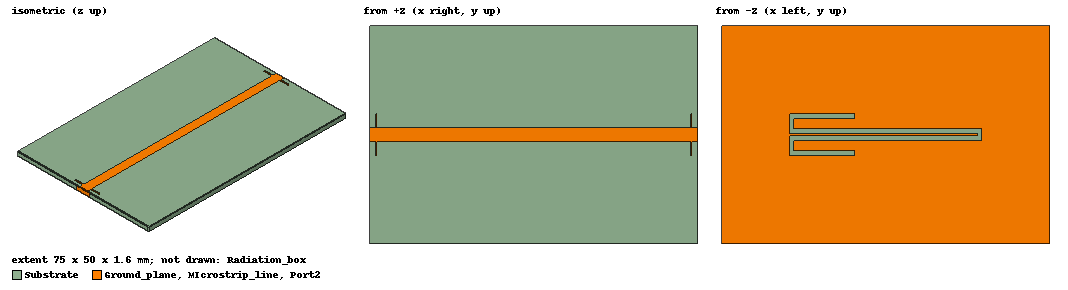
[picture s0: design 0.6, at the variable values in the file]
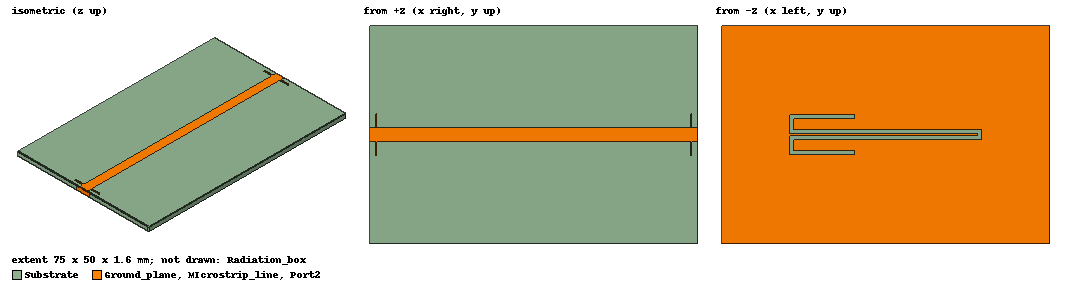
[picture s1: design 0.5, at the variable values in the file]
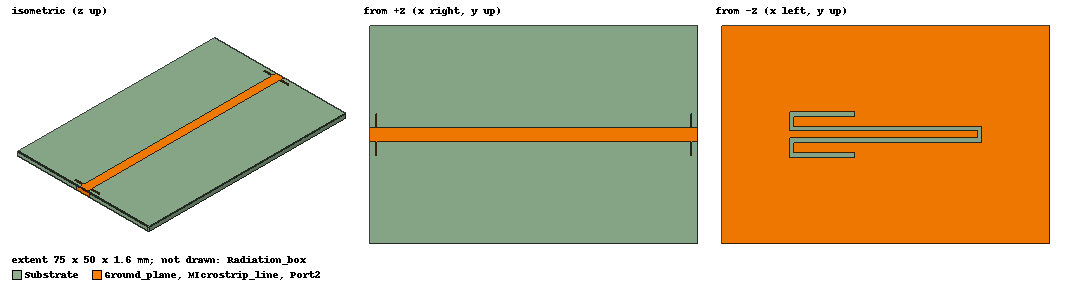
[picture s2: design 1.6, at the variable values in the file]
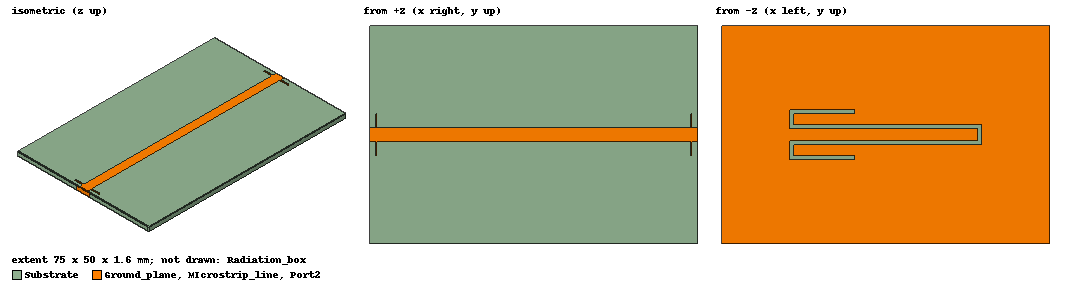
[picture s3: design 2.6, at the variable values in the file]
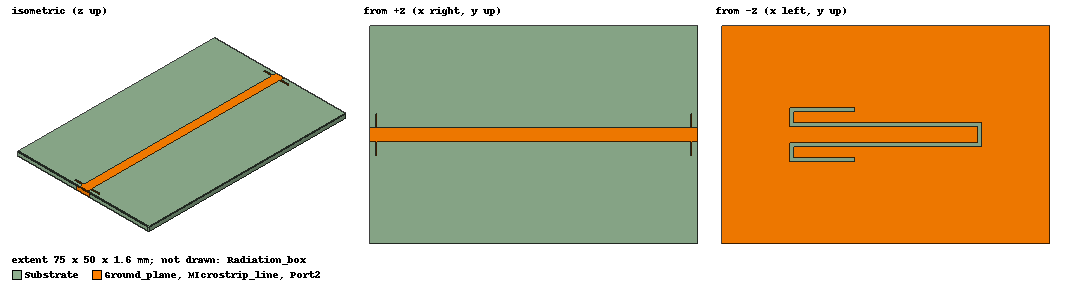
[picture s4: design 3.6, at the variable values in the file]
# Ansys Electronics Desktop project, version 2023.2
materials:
  vacuum: permittivity=1
  FR4_epoxy: permittivity=4.4 dielectric_loss_tangent=0.02
  air: permittivity=1.0006 permeability=1.0000004

design 0.6 (HFSS, HFSS Terminal Network, model units mm)
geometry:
  Substrate [FR4_epoxy] = box(corner=(-37.5mm, -25mm, 0mm), size=(75mm, 50mm, 1.6mm))
  Ground_plane = rectangle(corner=(-37.5mm, -25mm, 0mm), x_size=75mm, y_size=50mm)
  Rectangle1 = rectangle(corner=(-22mm, -1.3mm, 0mm), x_size=44mm, y_size=1mm)
  Rectangle2 = rectangle(corner=(-22mm, 0.3mm, 0mm), x_size=44mm, y_size=1mm)
  Rectangle3 = rectangle(corner=(-22mm, -0.3mm, 0mm), x_size=1mm, y_size=0.6mm)
  Rectangle4 = rectangle(corner=(22mm, -1.3mm, 0mm), x_size=-1mm, y_size=-2.4mm)
  Rectangle5 = rectangle(corner=(22mm, 3.7mm, 0mm), x_size=-1mm, y_size=-2.4mm)
  Rectangle6 = rectangle(corner=(22mm, -3.7mm, 0mm), x_size=-15mm, y_size=-1mm)
  Rectangle7 = rectangle(corner=(22mm, 4.7mm, 0mm), x_size=-15mm, y_size=-1mm)
  Ground_plane.subtract(Rectangle1..Rectangle7)
  MIcrostrip_line = rectangle(corner=(-37.5mm, -1.5mm, 1.6mm), x_size=75mm, y_size=3mm)
  Rectangle8 = rectangle(corner=(35.8mm, -1.5mm, 1.6mm), x_size=0.4mm, y_size=-3.4mm)
  Rectangle9 = rectangle(corner=(35.8mm, 1.5mm, 1.6mm), x_size=0.4mm, y_size=3.4mm)
  Rectangle10 = rectangle(corner=(-36.2mm, -1.5mm, 1.6mm), x_size=0.4mm, y_size=-3.4mm)
  Rectangle11 = rectangle(corner=(-36.2mm, 1.5mm, 1.6mm), x_size=0.4mm, y_size=3.4mm)
  MIcrostrip_line.unite(Rectangle8..Rectangle11)
  Port1 = rectangle(corner=(-37.5mm, -2.5mm, 1.6mm), y_size=5mm, z_size=-1.6mm)
  Port2 = rectangle(corner=(37.5mm, -2.5mm, 1.6mm), y_size=5mm, z_size=-1.6mm)
  Radiation_box [air] = box(corner=(-60mm, -45mm, -10mm), size=(125mm, 90mm, 35mm))
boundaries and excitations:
  PerfE1: Perfect E Objects=Ground_plane
  PerfE2: Perfect E Objects=MIcrostrip_line
  Rad1: Radiation Objects=Radiation_box
  1: Lumped Port Objects=Port1 LumpedPortType=Modal Modes{Mode1{IntLine{(-37.5, 0, 0) -> (-37.5, 0, 1.6)} CharImp=Zpi RenormImp=50ohm}} Impedance=50ohm
  2: Lumped Port Objects=Port2 LumpedPortType=Modal Modes{Mode1{IntLine{(37.5, 0, 0) -> (37.5, 0, 1.6)} CharImp=Zpi RenormImp=50ohm}} Impedance=50ohm
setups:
  Setup1: HfssDriven Frequency=1GHz MaxDeltaS=0.02 MaximumPasses=6 MinimumPasses=1 MinimumConvergedPasses=1 PercentRefinement=30 BasisOrder=1 PortAccuracy=2 DrivenSolverType="Direct Solver"
    sweep Sweep: 0.1GHz to 1.5GHz, 901 points; Type=Fast SaveFields
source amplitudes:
  1:1: 1V 0deg
  2:1: 0V 0deg
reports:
  S Parameter Plot 1: dB(S(1,1)), dB(S(2,1)), dB(S(1,2)), dB(S(2,2)) vs Freq on Setup1 : Sweep

design 0.5 (HFSS, HFSS Terminal Network, model units mm)
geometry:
  Substrate [FR4_epoxy] = box(corner=(-37.5mm, -25mm, 0mm), size=(75mm, 50mm, 1.6mm))
  Ground_plane = rectangle(corner=(-37.5mm, -25mm, 0mm), x_size=75mm, y_size=50mm)
  Rectangle1 = rectangle(corner=(-22mm, -1.25mm, 0mm), x_size=44mm, y_size=1mm)
  Rectangle2 = rectangle(corner=(-22mm, 0.25mm, 0mm), x_size=44mm, y_size=1mm)
  Rectangle3 = rectangle(corner=(-22mm, -0.25mm, 0mm), x_size=1mm, y_size=0.5mm)
  Rectangle4 = rectangle(corner=(22mm, -1.25mm, 0mm), x_size=-1mm, y_size=-2.4mm)
  Rectangle5 = rectangle(corner=(22mm, 3.65mm, 0mm), x_size=-1mm, y_size=-2.4mm)
  Rectangle6 = rectangle(corner=(22mm, -3.65mm, 0mm), x_size=-15mm, y_size=-1mm)
  Rectangle7 = rectangle(corner=(22mm, 4.65mm, 0mm), x_size=-15mm, y_size=-1mm)
  Ground_plane.subtract(Rectangle1..Rectangle7)
  MIcrostrip_line = rectangle(corner=(-37.5mm, -1.5mm, 1.6mm), x_size=75mm, y_size=3mm)
  Rectangle8 = rectangle(corner=(35.8mm, -1.5mm, 1.6mm), x_size=0.4mm, y_size=-3.4mm)
  Rectangle9 = rectangle(corner=(35.8mm, 1.5mm, 1.6mm), x_size=0.4mm, y_size=3.4mm)
  Rectangle10 = rectangle(corner=(-36.2mm, -1.5mm, 1.6mm), x_size=0.4mm, y_size=-3.4mm)
  Rectangle11 = rectangle(corner=(-36.2mm, 1.5mm, 1.6mm), x_size=0.4mm, y_size=3.4mm)
  MIcrostrip_line.unite(Rectangle8..Rectangle11)
  Port1 = rectangle(corner=(-37.5mm, -2.5mm, 1.6mm), y_size=5mm, z_size=-1.6mm)
  Port2 = rectangle(corner=(37.5mm, -2.5mm, 1.6mm), y_size=5mm, z_size=-1.6mm)
  Radiation_box [air] = box(corner=(-60mm, -45mm, -10mm), size=(125mm, 90mm, 35mm))
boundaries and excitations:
  PerfE1: Perfect E Objects=Ground_plane
  PerfE2: Perfect E Objects=MIcrostrip_line
  Rad1: Radiation Objects=Radiation_box
  1: Lumped Port Objects=Port1 LumpedPortType=Modal Modes{Mode1{IntLine{(-37.5, 0, 0) -> (-37.5, 0, 1.6)} CharImp=Zpi RenormImp=50ohm}} Impedance=50ohm
  2: Lumped Port Objects=Port2 LumpedPortType=Modal Modes{Mode1{IntLine{(37.5, 0, 0) -> (37.5, 0, 1.6)} CharImp=Zpi RenormImp=50ohm}} Impedance=50ohm
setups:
  Setup1: HfssDriven Frequency=1GHz MaxDeltaS=0.02 MaximumPasses=6 MinimumPasses=1 MinimumConvergedPasses=1 PercentRefinement=30 BasisOrder=1 PortAccuracy=2 DrivenSolverType="Direct Solver"
    sweep Sweep: 0.1GHz to 1.5GHz, 901 points; Type=Fast SaveFields
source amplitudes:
  1:1: 1V 0deg
  2:1: 0V 0deg
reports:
  S Parameter Plot 1: dB(S(1,1)), dB(S(2,1)), dB(S(1,2)), dB(S(2,2)) vs Freq on Setup1 : Sweep; markers m1 at 0.93844444GHz, m2 at 0.926GHz, m3 at 0.95088889GHz, m4 at 0.30688889GHz, m5 at 0.52GHz, m6 at 1.2137778GHz

design 1.6 (HFSS, HFSS Terminal Network, model units mm)
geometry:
  Substrate [FR4_epoxy] = box(corner=(-37.5mm, -25mm, 0mm), size=(75mm, 50mm, 1.6mm))
  Ground_plane = rectangle(corner=(-37.5mm, -25mm, 0mm), x_size=75mm, y_size=50mm)
  Rectangle1 = rectangle(corner=(-22mm, -1.8mm, 0mm), x_size=44mm, y_size=1mm)
  Rectangle2 = rectangle(corner=(-22mm, 0.8mm, 0mm), x_size=44mm, y_size=1mm)
  Rectangle3 = rectangle(corner=(-22mm, -0.8mm, 0mm), x_size=1mm, y_size=1.6mm)
  Rectangle4 = rectangle(corner=(22mm, -1.8mm, 0mm), x_size=-1mm, y_size=-2.4mm)
  Rectangle5 = rectangle(corner=(22mm, 4.2mm, 0mm), x_size=-1mm, y_size=-2.4mm)
  Rectangle6 = rectangle(corner=(22mm, -4.2mm, 0mm), x_size=-15mm, y_size=-1mm)
  Rectangle7 = rectangle(corner=(22mm, 5.2mm, 0mm), x_size=-15mm, y_size=-1mm)
  Ground_plane.subtract(Rectangle1..Rectangle7)
  MIcrostrip_line = rectangle(corner=(-37.5mm, -1.5mm, 1.6mm), x_size=75mm, y_size=3mm)
  Rectangle8 = rectangle(corner=(35.8mm, -1.5mm, 1.6mm), x_size=0.4mm, y_size=-3.4mm)
  Rectangle9 = rectangle(corner=(35.8mm, 1.5mm, 1.6mm), x_size=0.4mm, y_size=3.4mm)
  Rectangle10 = rectangle(corner=(-36.2mm, -1.5mm, 1.6mm), x_size=0.4mm, y_size=-3.4mm)
  Rectangle11 = rectangle(corner=(-36.2mm, 1.5mm, 1.6mm), x_size=0.4mm, y_size=3.4mm)
  MIcrostrip_line.unite(Rectangle8..Rectangle11)
  Port1 = rectangle(corner=(-37.5mm, -2.5mm, 1.6mm), y_size=5mm, z_size=-1.6mm)
  Port2 = rectangle(corner=(37.5mm, -2.5mm, 1.6mm), y_size=5mm, z_size=-1.6mm)
  Radiation_box [air] = box(corner=(-60mm, -45mm, -10mm), size=(125mm, 90mm, 35mm))
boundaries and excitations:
  PerfE1: Perfect E Objects=Ground_plane
  PerfE2: Perfect E Objects=MIcrostrip_line
  Rad1: Radiation Objects=Radiation_box
  1: Lumped Port Objects=Port1 LumpedPortType=Modal Modes{Mode1{IntLine{(-37.5, 0, 0) -> (-37.5, 0, 1.6)} CharImp=Zpi RenormImp=50ohm}} Impedance=50ohm
  2: Lumped Port Objects=Port2 LumpedPortType=Modal Modes{Mode1{IntLine{(37.5, 0, 0) -> (37.5, 0, 1.6)} CharImp=Zpi RenormImp=50ohm}} Impedance=50ohm
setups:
  Setup1: HfssDriven Frequency=1GHz MaxDeltaS=0.02 MaximumPasses=6 MinimumPasses=1 MinimumConvergedPasses=1 PercentRefinement=30 BasisOrder=1 PortAccuracy=2 DrivenSolverType="Direct Solver"
    sweep Sweep: 0.1GHz to 1.5GHz, 901 points; Type=Fast SaveFields
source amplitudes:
  1:1: 1V 0deg
  2:1: 0V 0deg
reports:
  S Parameter Plot 1: dB(S(1,1)), dB(S(2,1)), dB(S(1,2)), dB(S(2,2)) vs Freq on Setup1 : Sweep; markers m1 at 0.90266667GHz, m2 at 0.27733333GHz, m3 at 0.42666667GHz, m4 at 1.2511111GHz, m5 at 0.87622222GHz, m6 at 0.92911111GHz

design 2.6 (HFSS, HFSS Terminal Network, model units mm)
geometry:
  Substrate [FR4_epoxy] = box(corner=(-37.5mm, -25mm, 0mm), size=(75mm, 50mm, 1.6mm))
  Ground_plane = rectangle(corner=(-37.5mm, -25mm, 0mm), x_size=75mm, y_size=50mm)
  Rectangle1 = rectangle(corner=(-22mm, -2.3mm, 0mm), x_size=44mm, y_size=1mm)
  Rectangle2 = rectangle(corner=(-22mm, 1.3mm, 0mm), x_size=44mm, y_size=1mm)
  Rectangle3 = rectangle(corner=(-22mm, -1.3mm, 0mm), x_size=1mm, y_size=2.6mm)
  Rectangle4 = rectangle(corner=(22mm, -2.3mm, 0mm), x_size=-1mm, y_size=-2.4mm)
  Rectangle5 = rectangle(corner=(22mm, 4.7mm, 0mm), x_size=-1mm, y_size=-2.4mm)
  Rectangle6 = rectangle(corner=(22mm, -4.7mm, 0mm), x_size=-15mm, y_size=-1mm)
  Rectangle7 = rectangle(corner=(22mm, 5.7mm, 0mm), x_size=-15mm, y_size=-1mm)
  Ground_plane.subtract(Rectangle1..Rectangle7)
  MIcrostrip_line = rectangle(corner=(-37.5mm, -1.5mm, 1.6mm), x_size=75mm, y_size=3mm)
  Rectangle8 = rectangle(corner=(35.8mm, -1.5mm, 1.6mm), x_size=0.4mm, y_size=-3.4mm)
  Rectangle9 = rectangle(corner=(35.8mm, 1.5mm, 1.6mm), x_size=0.4mm, y_size=3.4mm)
  Rectangle10 = rectangle(corner=(-36.2mm, -1.5mm, 1.6mm), x_size=0.4mm, y_size=-3.4mm)
  Rectangle11 = rectangle(corner=(-36.2mm, 1.5mm, 1.6mm), x_size=0.4mm, y_size=3.4mm)
  MIcrostrip_line.unite(Rectangle8..Rectangle11)
  Port1 = rectangle(corner=(-37.5mm, -2.5mm, 1.6mm), y_size=5mm, z_size=-1.6mm)
  Port2 = rectangle(corner=(37.5mm, -2.5mm, 1.6mm), y_size=5mm, z_size=-1.6mm)
  Radiation_box [air] = box(corner=(-60mm, -45mm, -10mm), size=(125mm, 90mm, 35mm))
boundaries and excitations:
  PerfE1: Perfect E Objects=Ground_plane
  PerfE2: Perfect E Objects=MIcrostrip_line
  Rad1: Radiation Objects=Radiation_box
  1: Lumped Port Objects=Port1 LumpedPortType=Modal Modes{Mode1{IntLine{(-37.5, 0, 0) -> (-37.5, 0, 1.6)} CharImp=Zpi RenormImp=50ohm}} Impedance=50ohm
  2: Lumped Port Objects=Port2 LumpedPortType=Modal Modes{Mode1{IntLine{(37.5, 0, 0) -> (37.5, 0, 1.6)} CharImp=Zpi RenormImp=50ohm}} Impedance=50ohm
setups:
  Setup1: HfssDriven Frequency=0.9GHz MaxDeltaS=0.02 MaximumPasses=6 MinimumPasses=1 MinimumConvergedPasses=1 PercentRefinement=30 BasisOrder=1 PortAccuracy=2 DrivenSolverType="Direct Solver"
    sweep Sweep: 0.1GHz to 1.5GHz, 401 points; Type=Fast SaveFields
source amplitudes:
  1:1: 1V 0deg
  2:1: 0V 0deg
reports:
  S Parameter Plot 1: dB(S(1,1)), dB(S(2,1)), dB(S(1,2)), dB(S(2,2)) vs Freq on Setup1 : Sweep; markers m1 at 0.289GHz, m2 at 0.884GHz, m3 at 0.863GHz, m4 at 0.905GHz, m5 at 0.4605GHz, m6 at 1.2515GHz

design 3.6 (HFSS, HFSS Terminal Network, model units mm)
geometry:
  Substrate [FR4_epoxy] = box(corner=(-37.5mm, -25mm, 0mm), size=(75mm, 50mm, 1.6mm))
  Ground_plane = rectangle(corner=(-37.5mm, -25mm, 0mm), x_size=75mm, y_size=50mm)
  Rectangle1 = rectangle(corner=(-22mm, -2.8mm, 0mm), x_size=44mm, y_size=1mm)
  Rectangle2 = rectangle(corner=(-22mm, 1.8mm, 0mm), x_size=44mm, y_size=1mm)
  Rectangle3 = rectangle(corner=(-22mm, -1.8mm, 0mm), x_size=1mm, y_size=3.6mm)
  Rectangle4 = rectangle(corner=(22mm, -2.8mm, 0mm), x_size=-1mm, y_size=-2.4mm)
  Rectangle5 = rectangle(corner=(22mm, 5.2mm, 0mm), x_size=-1mm, y_size=-2.4mm)
  Rectangle6 = rectangle(corner=(22mm, -5.2mm, 0mm), x_size=-15mm, y_size=-1mm)
  Rectangle7 = rectangle(corner=(22mm, 6.2mm, 0mm), x_size=-15mm, y_size=-1mm)
  Ground_plane.subtract(Rectangle1..Rectangle7)
  MIcrostrip_line = rectangle(corner=(-37.5mm, -1.5mm, 1.6mm), x_size=75mm, y_size=3mm)
  Rectangle8 = rectangle(corner=(35.8mm, -1.5mm, 1.6mm), x_size=0.4mm, y_size=-3.4mm)
  Rectangle9 = rectangle(corner=(35.8mm, 1.5mm, 1.6mm), x_size=0.4mm, y_size=3.4mm)
  Rectangle10 = rectangle(corner=(-36.2mm, -1.5mm, 1.6mm), x_size=0.4mm, y_size=-3.4mm)
  Rectangle11 = rectangle(corner=(-36.2mm, 1.5mm, 1.6mm), x_size=0.4mm, y_size=3.4mm)
  MIcrostrip_line.unite(Rectangle8..Rectangle11)
  Port1 = rectangle(corner=(-37.5mm, -2.5mm, 1.6mm), y_size=5mm, z_size=-1.6mm)
  Port2 = rectangle(corner=(37.5mm, -2.5mm, 1.6mm), y_size=5mm, z_size=-1.6mm)
  Radiation_box [air] = box(corner=(-60mm, -45mm, -10mm), size=(125mm, 90mm, 35mm))
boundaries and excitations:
  PerfE1: Perfect E Objects=Ground_plane
  PerfE2: Perfect E Objects=MIcrostrip_line
  Rad1: Radiation Objects=Radiation_box
  1: Lumped Port Objects=Port1 LumpedPortType=Modal Modes{Mode1{IntLine{(-37.5, 0, 0) -> (-37.5, 0, 1.6)} CharImp=Zpi RenormImp=50ohm}} Impedance=50ohm
  2: Lumped Port Objects=Port2 LumpedPortType=Modal Modes{Mode1{IntLine{(37.5, 0, 0) -> (37.5, 0, 1.6)} CharImp=Zpi RenormImp=50ohm}} Impedance=50ohm
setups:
  Setup1: HfssDriven Frequency=0.9GHz MaxDeltaS=0.02 MaximumPasses=6 MinimumPasses=1 MinimumConvergedPasses=1 PercentRefinement=30 BasisOrder=1 PortAccuracy=2 DrivenSolverType="Direct Solver"
    sweep Sweep: 0.1GHz to 1.5GHz, 901 points; Type=Fast SaveFields
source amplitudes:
  1:1: 1V 0deg
  2:1: 0V 0deg
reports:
  S Parameter Plot 1: dB(S(1,1)), dB(S(2,1)), dB(S(1,2)), dB(S(2,2)) vs Freq on Setup1 : Sweep; markers m1 at 0.88711111GHz, m2 at 0.83888889GHz, m3 at 0.93222222GHz, m4 at 0.46244444GHz, m5 at 1.2215556GHz
